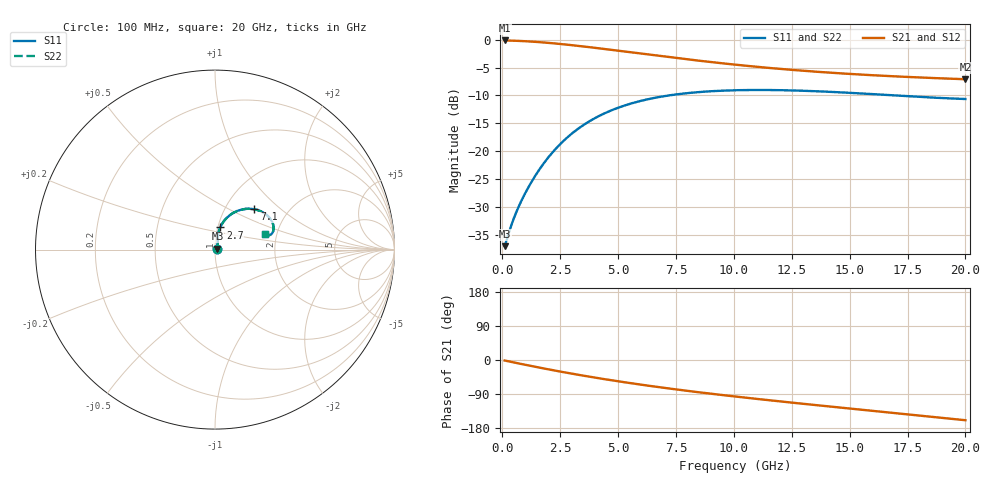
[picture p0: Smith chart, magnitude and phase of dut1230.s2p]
! Touchstone file exported from HFSS 2024.1.0
!  File:  C:/UserFiles/LocalFiles/RDL_TSV_Batchsim/temp_RDL_TSV_1230_1780264702.aedt
!  Generated:  06:29:41 AM Jun  1, 2026
!  Design:  RDL_TSV
!  Project:  temp_RDL_TSV_1230_1780264702
!  Setup:  Setup1
!  Solution:  Sweep
! Variables:
!  dtsv = 5.06um
!  hbump = 3um
!  htsv = 56.52um
!  ldown = 357.22um
!  lrdl = 328.31um
!  p = 40
!  p1 = 51.58um
!  rhole = 10um
!  subl = 2384.9um
!  t = 450um
!  tdown = 3.5um
!  trdl = 2.33um
!  viad = 10um
!  wdown = 27.32um
!  wrdl = 23.09um
!  xbump = 18um
# GHz S MA R 50.000000
! Terminal data exported
! Port[1] = TM1_1_T1
! Port[2] = TM1_4_T1
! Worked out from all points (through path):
!   200 points, 100 MHz to 20 GHz, reference 50 ohm
!   highest |S21| = -0.14 dB at 100 MHz (marker M1); lowest = -7.1 dB at 20 GHz (marker M2)
!   group delay of S21, straight-line fit = 20.9 ps
!   lowest |S11| = -37.0 dB at 100 MHz (marker M3), VSWR 1.03, Z = 51.4 + j0.454 ohm
!   |S11| at or under -10 dB: start of sweep to 7.191 GHz; 16.96 GHz to end of sweep
!   |S22| runs from -37.0 to -9.0 dB; largest |S21 - S12| = 1.4e-14
!   S11 on the Smith chart (normalised r, x): 100 MHz: 1.03, +0.01; 2.7 GHz: 1.03, +0.26; 7.1 GHz: 1.37, +0.68; 20 GHz: 1.74, +0.33
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0.1  0.01409 18.3  0.9839 -1.3  0.9839 -1.3  0.01405 18.2
! Gamma 0 0 0 0
! Port Impedance 50 0 50 0
0.4  0.02199 48.6  0.9802 -5.2  0.9802 -5.2  0.02187 48.5
0.6  0.02827 58.2  0.977 -7.7  0.977 -7.7  0.02809 58.1
0.9  0.03866 67.4  0.971 -11.5  0.971 -11.5  0.0384 67.4
1.2  0.05051 73.1  0.9633 -15.2  0.9633 -15.2  0.05019 73.2
1.5  0.06381 76.3  0.9541 -18.9  0.9541 -18.9  0.06345 76.5
1.9  0.08347 78.2  0.9399 -23.6  0.9399 -23.6  0.08308 78.4
2.3  0.1047 78.1  0.9238 -28.2  0.9238 -28.2  0.1043 78.3
2.7  0.1269 76.7  0.9064 -32.7  0.9064 -32.7  0.1265 76.9
3.5  0.1714 72.0  0.8692 -41.3  0.8692 -41.3  0.1711 72.1
4.2  0.2081 66.8  0.8355 -48.4  0.8355 -48.4  0.2078 66.9
5  0.2453 60.6  0.7968 -56.1  0.7968 -56.1  0.245 60.7
5.9  0.2799 53.8  0.7546 -64.3  0.7546 -64.3  0.2796 53.9
6.8  0.3068 47.6  0.7147 -71.9  0.7147 -71.9  0.3066 47.7
7.1  0.3142 45.6  0.702 -74.4  0.702 -74.4  0.3139 45.7
8.6  0.3403 36.9  0.6442 -86.0  0.6442 -86.0  0.3401 37.0
10.1  0.3521 29.8  0.5958 -96.6  0.5958 -96.6  0.3519 29.9
11.7  0.3534 23.9  0.554 -107.3  0.554 -107.3  0.3531 23.9
13.4  0.3459 19.2  0.5189 -118.1  0.5189 -118.1  0.3457 19.3
15  0.3339 16.3  0.4932 -128.1  0.4932 -128.1  0.3337 16.4
16.7  0.3186 14.9  0.4717 -138.5  0.4717 -138.5  0.3184 15.0
20  0.2938 17.0  0.4419 -158.9  0.4419 -158.9  0.2937 17.1
